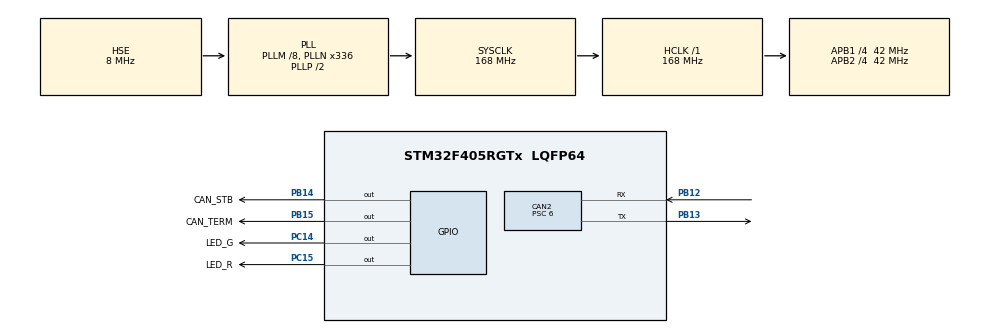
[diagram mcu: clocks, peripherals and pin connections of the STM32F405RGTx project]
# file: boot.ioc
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CAN2.ABOM=ENABLE
CAN2.BS1=CAN_BS1_11TQ
CAN2.BS2=CAN_BS2_2TQ
CAN2.CalculateBaudRate=500000
CAN2.CalculateTimeBit=1999.99
CAN2.CalculateTimeQuantum=142.85714285714286
CAN2.Mode=CAN_MODE_NORMAL
CAN2.NART=ENABLE
CAN2.Prescaler=6
CAN2.SJW=CAN_SJW_1TQ
CAN2.TXFP=ENABLE
FATFS._FS_LOCK=3
FATFS._FS_RPATH=2
FATFS._USE_FIND=1
FATFS._USE_LABEL=1
FATFS._USE_LFN=2
IWDG.Prescaler=IWDG_PRESCALER_32
IWDG.Reload=4000
Mcu.Family=STM32F4
Mcu.Name=STM32F405RGTx
Mcu.Package=LQFP64
Mcu.UserConstants=__TP,130;__TL,36;__TH,94;__NWS,24;__RXLEN,128;__TXLEN,128
NVIC.CAN2_RX0_IRQn=true\:2\:0\:true\:false\:true\:true\:true
NVIC.CAN2_RX1_IRQn=true\:2\:0\:true\:false\:true\:true\:true
NVIC.CAN2_SCE_IRQn=true\:3\:0\:true\:false\:true\:true\:true
NVIC.CAN2_TX_IRQn=true\:3\:0\:true\:false\:true\:true\:true
NVIC.PriorityGroup=NVIC_PRIORITYGROUP_4
PB11.GPIO_Label=LEDS
PB11.GPIO_PuPd=GPIO_PULLUP
PB11.GPIO_Speed=GPIO_SPEED_FREQ_VERY_HIGH
PB11.Signal=S_TIM2_CH4
PB12.GPIO_PuPd=GPIO_PULLUP
PB12.Mode=CAN_Activate
PB12.Signal=CAN2_RX
PB13.GPIO_PuPd=GPIO_PULLUP
PB13.Mode=CAN_Activate
PB13.Signal=CAN2_TX
PB14.GPIO_Label=CAN_STB
PB14.Signal=GPIO_Output
PB15.GPIO_Label=CAN_TERM
PB15.GPIO_ModeDefaultOutputPP=GPIO_MODE_OUTPUT_OD
PB15.PinState=GPIO_PIN_RESET
PB15.Signal=GPIO_Output
PC14-OSC32_IN.GPIO_Label=LED_G
PC14-OSC32_IN.GPIO_ModeDefaultOutputPP=GPIO_MODE_OUTPUT_OD
PC14-OSC32_IN.GPIO_PuPd=GPIO_NOPULL
PC14-OSC32_IN.PinState=GPIO_PIN_SET
PC14-OSC32_IN.Signal=GPIO_Output
PC15-OSC32_OUT.GPIO_Label=LED_R
PC15-OSC32_OUT.GPIO_ModeDefaultOutputPP=GPIO_MODE_OUTPUT_OD
PC15-OSC32_OUT.PinState=GPIO_PIN_SET
PC15-OSC32_OUT.Signal=GPIO_Output
PH0-OSC_IN.Mode=HSE-External-Oscillator
PH0-OSC_IN.Signal=RCC_OSC_IN
PH1-OSC_OUT.Mode=HSE-External-Oscillator
PH1-OSC_OUT.Signal=RCC_OSC_OUT
ProjectManager.HeapSize=0x8000
ProjectManager.StackSize=0x4000
ProjectManager.TargetToolchain=MDK-ARM V5.27
RCC.48MHZClocksFreq_Value=48000000
RCC.AHBFreq_Value=168000000
RCC.APB1CLKDivider=RCC_HCLK_DIV4
RCC.APB1Freq_Value=42000000
RCC.APB1TimFreq_Value=84000000
RCC.APB2CLKDivider=RCC_HCLK_DIV4
RCC.APB2Freq_Value=42000000
RCC.APB2TimFreq_Value=84000000
RCC.CortexFreq_Value=168000000
RCC.HCLKFreq_Value=168000000
RCC.HSE_VALUE=8000000
RCC.HSI_VALUE=16000000
RCC.LSE_VALUE=32768
RCC.PLLM=8
RCC.PLLN=336
RCC.PLLQ=7
RCC.PLLSourceVirtual=RCC_PLLSOURCE_HSE
RCC.SYSCLKFreq_VALUE=168000000
RCC.SYSCLKSource=RCC_SYSCLKSOURCE_PLLCLK
RCC.VCOOutputFreq_Value=336000000
SH.S_TIM2_CH4.0=TIM2_CH4
VP_CRC_VS_CRC.Mode=CRC_Activate
VP_FATFS_VS_Generic.Mode=User_defined
VP_IWDG_VS_IWDG.Mode=IWDG_Activate
board=custom

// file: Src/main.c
/* USER CODE BEGIN Header */
/**
  ******************************************************************************
  * @file           : main.c
  * @brief          : Main program body
  ******************************************************************************
  * @attention
  *
  * <h2><center>&copy; Copyright (c) 2021 STMicroelectronics.
  * All rights reserved.</center></h2>
  *
  * This software component is licensed by ST under Ultimate Liberty license
  * SLA0044, the "License"; You may not use this file except in compliance with
  * the License. You may obtain a copy of the License at:
  *                             www.st.com/SLA0044
  *
  ******************************************************************************
  */
/* USER CODE END Header */
#include "main.h"
#include "fatfs.h"

/* USER CODE BEGIN Includes */
#include "proc.h"
#include "can.h"

/* USER CODE END Includes */

CAN_HandleTypeDef hcan2;

CRC_HandleTypeDef hcrc;

IWDG_HandleTypeDef hiwdg;

/* USER CODE BEGIN PV */
uint32_t	boot_timeout=3000;
/* USER CODE END PV */

void SystemClock_Config(void);
static void MX_GPIO_Init(void);
static void MX_CAN2_Init(void);
static void MX_CRC_Init(void);
static void MX_IWDG_Init(void);

/* USER CODE BEGIN 0 */
void				binFileProg(void);
/* USER CODE END 0 */

int main(void)
{
  /* USER CODE BEGIN 1 */
	while(__HAL_RCC_GET_FLAG(RCC_FLAG_SFTRST)) {
		uint32_t *f=(uint32_t *)0x8004000;
		if(!f[0] && !f[1] && !f[2] && !f[3]) {
			f=(uint32_t *)0x8008000;
		} else {
			MX_CRC_Init();
			if(HAL_CRC_Calculate(&hcrc,f,3) != f[3])
				break;
			if(HAL_CRC_Calculate(&hcrc,(uint32_t *)f[0],f[1]) != f[2])
				break;
			f=*(uint32_t **)f;
		}
		MX_IWDG_Init();
		SCB->VTOR = (uint32_t)f;
		__set_MSP(*f++);
		((void (*)(void))*f)();
	}
  /* USER CODE END 1 */

  /* MCU Configuration--------------------------------------------------------*/

  /* Reset of all peripherals, Initializes the Flash interface and the Systick. */
  HAL_Init();

  /* Configure the system clock */
  SystemClock_Config();

  /* Initialize all configured peripherals */
  MX_GPIO_Init();
  MX_FATFS_Init();
  MX_CAN2_Init();
  MX_CRC_Init();
  MX_IWDG_Init();
  /* USER CODE BEGIN 2 */

	_proc_add(canTx,NULL,"canTx",0);
	_proc_add(canRx,NULL,"canRx",0);
	_proc_add(Watchdog,NULL,"watchdog",100);

  /* USER CODE END 2 */

  /* Infinite loop */
  /* USER CODE BEGIN WHILE */
  while (1)
  {
		_proc_loop();
		if(boot_timeout && HAL_GetTick() > boot_timeout) {
			binFileProg();
			HAL_NVIC_SystemReset();
		}

    /* USER CODE END WHILE */

  }
}

void SystemClock_Config(void)
{
  RCC_OscInitTypeDef RCC_OscInitStruct = {0};
  RCC_ClkInitTypeDef RCC_ClkInitStruct = {0};

  /** Configure the main internal regulator output voltage
  */
  __HAL_RCC_PWR_CLK_ENABLE();
  __HAL_PWR_VOLTAGESCALING_CONFIG(PWR_REGULATOR_VOLTAGE_SCALE1);
  /** Initializes the RCC Oscillators according to the specified parameters
  * in the RCC_OscInitTypeDef structure.
  */
  RCC_OscInitStruct.OscillatorType = RCC_OSCILLATORTYPE_LSI|RCC_OSCILLATORTYPE_HSE;
  RCC_OscInitStruct.HSEState = RCC_HSE_ON;
  RCC_OscInitStruct.LSIState = RCC_LSI_ON;
  RCC_OscInitStruct.PLL.PLLState = RCC_PLL_ON;
  RCC_OscInitStruct.PLL.PLLSource = RCC_PLLSOURCE_HSE;
  RCC_OscInitStruct.PLL.PLLM = 8;
  RCC_OscInitStruct.PLL.PLLN = 336;
  RCC_OscInitStruct.PLL.PLLP = RCC_PLLP_DIV2;
  RCC_OscInitStruct.PLL.PLLQ = 7;
  if (HAL_RCC_OscConfig(&RCC_OscInitStruct) != HAL_OK)
  {
    Error_Handler();
  }
  /** Initializes the CPU, AHB and APB buses clocks
  */
  RCC_ClkInitStruct.ClockType = RCC_CLOCKTYPE_HCLK|RCC_CLOCKTYPE_SYSCLK
                              |RCC_CLOCKTYPE_PCLK1|RCC_CLOCKTYPE_PCLK2;
  RCC_ClkInitStruct.SYSCLKSource = RCC_SYSCLKSOURCE_PLLCLK;
  RCC_ClkInitStruct.AHBCLKDivider = RCC_SYSCLK_DIV1;
  RCC_ClkInitStruct.APB1CLKDivider = RCC_HCLK_DIV4;
  RCC_ClkInitStruct.APB2CLKDivider = RCC_HCLK_DIV4;

  if (HAL_RCC_ClockConfig(&RCC_ClkInitStruct, FLASH_LATENCY_5) != HAL_OK)
  {
    Error_Handler();
  }
}

static void MX_CAN2_Init(void)
{

  hcan2.Instance = CAN2;
  hcan2.Init.Prescaler = 6;
  hcan2.Init.Mode = CAN_MODE_NORMAL;
  hcan2.Init.SyncJumpWidth = CAN_SJW_1TQ;
  hcan2.Init.TimeSeg1 = CAN_BS1_11TQ;
  hcan2.Init.TimeSeg2 = CAN_BS2_2TQ;
  hcan2.Init.TimeTriggeredMode = DISABLE;
  hcan2.Init.AutoBusOff = ENABLE;
  hcan2.Init.AutoWakeUp = DISABLE;
  hcan2.Init.AutoRetransmission = ENABLE;
  hcan2.Init.ReceiveFifoLocked = DISABLE;
  hcan2.Init.TransmitFifoPriority = ENABLE;
  if (HAL_CAN_Init(&hcan2) != HAL_OK)
  {
    Error_Handler();
  }

}

static void MX_CRC_Init(void)
{

  hcrc.Instance = CRC;
  if (HAL_CRC_Init(&hcrc) != HAL_OK)
  {
    Error_Handler();
  }

}

static void MX_IWDG_Init(void)
{

  hiwdg.Instance = IWDG;
  hiwdg.Init.Prescaler = IWDG_PRESCALER_32;
  hiwdg.Init.Reload = 4000;
  if (HAL_IWDG_Init(&hiwdg) != HAL_OK)
  {
    Error_Handler();
  }

}

static void MX_GPIO_Init(void)
{
  GPIO_InitTypeDef GPIO_InitStruct = {0};

  /* GPIO Ports Clock Enable */
  __HAL_RCC_GPIOC_CLK_ENABLE();
  __HAL_RCC_GPIOH_CLK_ENABLE();
  __HAL_RCC_GPIOB_CLK_ENABLE();

  /*Configure GPIO pin Output Level */
  HAL_GPIO_WritePin(GPIOC, LED_G_Pin|LED_R_Pin, GPIO_PIN_SET);

  /*Configure GPIO pin Output Level */
  HAL_GPIO_WritePin(GPIOB, CAN_STB_Pin|CAN_TERM_Pin, GPIO_PIN_RESET);

  /*Configure GPIO pins : LED_G_Pin LED_R_Pin */
  GPIO_InitStruct.Pin = LED_G_Pin|LED_R_Pin;
  GPIO_InitStruct.Mode = GPIO_MODE_OUTPUT_OD;
  GPIO_InitStruct.Pull = GPIO_NOPULL;
  GPIO_InitStruct.Speed = GPIO_SPEED_FREQ_LOW;
  HAL_GPIO_Init(GPIOC, &GPIO_InitStruct);

  /*Configure GPIO pin : LEDS_Pin */
  GPIO_InitStruct.Pin = LEDS_Pin;
  GPIO_InitStruct.Mode = GPIO_MODE_AF_PP;
  GPIO_InitStruct.Pull = GPIO_PULLUP;
  GPIO_InitStruct.Speed = GPIO_SPEED_FREQ_VERY_HIGH;
  GPIO_InitStruct.Alternate = GPIO_AF1_TIM2;
  HAL_GPIO_Init(LEDS_GPIO_Port, &GPIO_InitStruct);

  /*Configure GPIO pin : CAN_STB_Pin */
  GPIO_InitStruct.Pin = CAN_STB_Pin;
  GPIO_InitStruct.Mode = GPIO_MODE_OUTPUT_PP;
  GPIO_InitStruct.Pull = GPIO_NOPULL;
  GPIO_InitStruct.Speed = GPIO_SPEED_FREQ_LOW;
  HAL_GPIO_Init(CAN_STB_GPIO_Port, &GPIO_InitStruct);

  /*Configure GPIO pin : CAN_TERM_Pin */
  GPIO_InitStruct.Pin = CAN_TERM_Pin;
  GPIO_InitStruct.Mode = GPIO_MODE_OUTPUT_OD;
  GPIO_InitStruct.Pull = GPIO_NOPULL;
  GPIO_InitStruct.Speed = GPIO_SPEED_FREQ_LOW;
  HAL_GPIO_Init(CAN_TERM_GPIO_Port, &GPIO_InitStruct);

}

void Error_Handler(void)
{
  __disable_irq();
  while (1)
  {
  }
}

/************************ (C) COPYRIGHT STMicroelectronics *****END OF FILE****/
